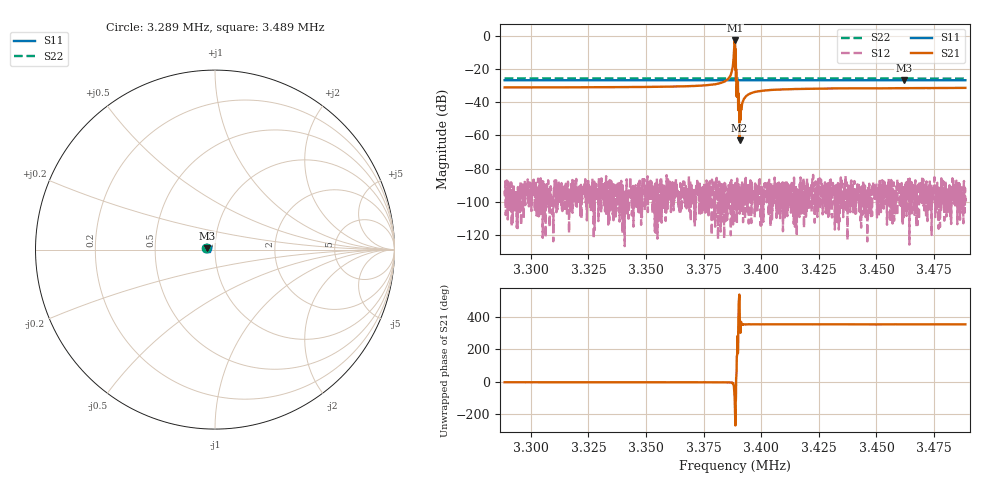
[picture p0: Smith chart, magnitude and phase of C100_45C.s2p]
# Hz S dB R 50.000
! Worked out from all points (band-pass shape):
!   6401 points, 3.289 MHz to 3.489 MHz, reference 50 ohm
!   highest |S21| = -2.70 dB at 3.389 MHz (marker M1); lowest = -63.0 dB at 3.391 MHz (marker M2)
!   |S21| within 3 dB of the highest: 3.388333 MHz to 3.388634 MHz (300.8 Hz wide, 0.00888 % of centre)
!   lowest |S11| = -26.7 dB at 3.462 MHz (marker M3), VSWR 1.10, Z = 45.6 + j0.577 ohm
!   |S11| at or under -10 dB: start of sweep to end of sweep
!   |S22| runs from -25.7 to -25.6 dB; largest |S21 - S12| = 0.73
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3288594  -26.71 170.6  -31.06 -4.0  -93.27 -106.2  -25.61 168.8
3321938  -26.71 170.9  -30.97 -4.0  -100.55 144.4  -25.62 169.1
3355282  -26.71 171.2  -30.66 -4.2  -96.33 -143.7  -25.64 169.4
3382375  -26.71 171.5  -28.35 -4.5  -118.10 50.8  -25.65 169.7
3386219  -26.71 171.5  -24.74 -5.5  -93.79 96.0  -25.65 169.7
3386875  -26.71 171.5  -22.99 -5.9  -97.94 -77.4  -25.66 169.7
3387375  -26.71 171.5  -20.05 -5.9  -97.72 84.5  -25.65 169.8
3387969  -26.71 171.5  -13.56 -21.6  -90.15 115.9  -25.66 169.7
3388594  -26.72 171.5  -2.70 -163.9  -89.59 -30.7  -25.65 169.5
3388906  -26.72 171.6  -10.84 -124.8  -90.66 91.2  -25.65 169.7
3389282  -26.71 171.5  -36.04 75.2  -99.01 27.3  -25.65 169.8
3389625  -26.71 171.6  -36.73 -147.2  -93.25 60.0  -25.65 169.8
3390000  -26.71 171.5  -36.03 -25.5  -89.27 6.4  -25.66 169.7
3390594  -26.71 171.5  -62.98 110.4  -107.29 -132.6  -25.66 169.8
3391406  -26.71 171.5  -43.72 -4.4  -98.80 -49.7  -25.65 169.7
3392063  -26.71 171.5  -39.26 -4.0  -107.24 160.2  -25.66 169.7
3393406  -26.71 171.6  -36.30 -5.3  -94.79 70.3  -25.66 169.8
3397094  -26.71 171.6  -33.87 -4.5  -98.81 -53.3  -25.65 169.8
3421938  -26.72 171.8  -31.83 -4.4  -94.11 3.9  -25.67 170.0
3455282  -26.72 172.1  -31.54 -4.5  -87.61 83.1  -25.69 170.4
3461875  -26.73 172.1  -31.49 -4.6  -107.94 -22.0  -25.69 170.4
3488594  -26.72 172.4  -31.32 -4.5  -97.00 -156.2  -25.70 170.7
